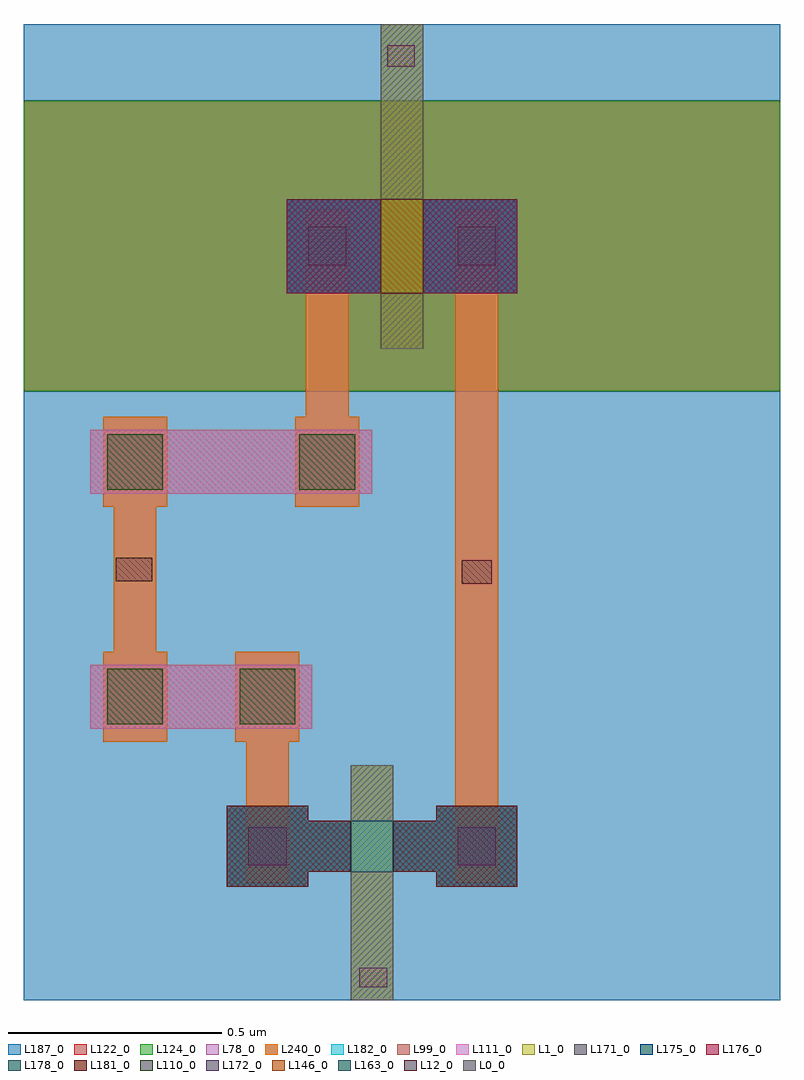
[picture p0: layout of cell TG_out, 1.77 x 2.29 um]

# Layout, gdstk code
import gdstk
lib = gdstk.Library(unit=1e-6, precision=1e-09)
def R(c, l, rs):  # rectangles x0, y0, x1, y1
    for r in rs: c.add(gdstk.rectangle(r[:2], r[2:], *l))
def P(c, l, *ps):  # polygons
    for p in ps: c.add(gdstk.Polygon(p, *l))
L0_0 = (0, 0)
L1_0 = (1, 0)
L12_0 = (12, 0)
L78_0 = (78, 0)
L99_0 = (99, 0)
L110_0 = (110, 0)
L111_0 = (111, 0)
L122_0 = (122, 0)
L124_0 = (124, 0)
L146_0 = (146, 0)
L163_0 = (163, 0)
L171_0 = (171, 0)
L172_0 = (172, 0)
L175_0 = (175, 0)
L176_0 = (176, 0)
L178_0 = (178, 0)
L181_0 = (181, 0)
L182_0 = (182, 0)
L187_0 = (187, 0)
L240_0 = (240, 0)

tg_out = lib.new_cell('TG_out')
R(tg_out, L0_0, [(1.515,0.435,1.58,0.48), (1.58,2.59,1.645,2.64)])
R(tg_out, L1_0, [(1.495,0.405,1.595,0.955), (1.565,1.93,1.665,2.69)])
R(tg_out, L12_0, [(1.755,1.38,1.825,1.435), (0.945,1.385,1.03,1.44)])
R(tg_out, L78_0, [(1.74,0.68,1.84,2.255)])
P(tg_out, L78_0, [(1.49,2.255),(1.49,1.77),(1.515,1.77),(1.515,1.56),(1.365,1.56),(1.365,1.77),(1.39,1.77),(1.39,2.255)],
  [(1.065,1.77),(1.065,1.56),(1.04,1.56),(1.04,1.22),(1.065,1.22),(1.065,1.01),(0.915,1.01),(0.915,1.22),(0.94,1.22),(0.94,1.56),(0.915,1.56),(0.915,1.77)],
  [(1.375,1.22),(1.375,1.01),(1.35,1.01),(1.35,0.68),(1.25,0.68),(1.25,1.01),(1.225,1.01),(1.225,1.22)])
R(tg_out, L99_0, [(0.885,1.04,1.405,1.19), (0.885,1.59,1.545,1.74)])
R(tg_out, L110_0, [(0.925,1.05,1.055,1.18), (1.235,1.05,1.365,1.18), (0.925,1.6,1.055,1.73), (1.375,1.6,1.505,1.73)])
R(tg_out, L111_0, [(0.885,1.04,1.405,1.19), (0.885,1.59,1.545,1.74)])
R(tg_out, L122_0, [(0.73,1.83,2.5,2.51)])
R(tg_out, L124_0, [(0.73,1.83,2.5,2.51)])
R(tg_out, L146_0, [(1.565,2.06,1.665,2.28)])
R(tg_out, L163_0, [(1.495,0.705,1.595,0.825)])
R(tg_out, L171_0, [(1.495,0.405,1.595,0.705), (1.495,0.825,1.595,0.955), (1.565,1.93,1.665,2.06), (1.565,2.28,1.665,2.69)])
R(tg_out, L172_0, [(1.255,0.72,1.345,0.81), (1.745,0.72,1.835,0.81), (1.395,2.125,1.485,2.215), (1.745,2.125,1.835,2.215)])
R(tg_out, L175_0, [(1.345,2.06,1.565,2.28), (1.665,2.06,1.885,2.28)])
R(tg_out, L176_0, [(1.345,2.06,1.565,2.28), (1.665,2.06,1.885,2.28)])
P(tg_out, L178_0, [(1.885,0.86),(1.885,0.67),(1.695,0.67),(1.695,0.705),(1.595,0.705),(1.595,0.825),(1.695,0.825),(1.695,0.86)],
  [(1.395,0.86),(1.395,0.825),(1.495,0.825),(1.495,0.705),(1.395,0.705),(1.395,0.67),(1.205,0.67),(1.205,0.86)])
P(tg_out, L181_0, [(1.885,0.86),(1.885,0.67),(1.695,0.67),(1.695,0.705),(1.595,0.705),(1.595,0.825),(1.695,0.825),(1.695,0.86)],
  [(1.395,0.86),(1.395,0.825),(1.495,0.825),(1.495,0.705),(1.395,0.705),(1.395,0.67),(1.205,0.67),(1.205,0.86)])
R(tg_out, L182_0, [(1.345,2.06,1.565,2.28), (1.665,2.06,1.885,2.28)])
P(tg_out, L182_0, [(1.885,0.86),(1.885,0.67),(1.695,0.67),(1.695,0.705),(1.595,0.705),(1.595,0.825),(1.695,0.825),(1.695,0.86)],
  [(1.395,0.86),(1.395,0.825),(1.495,0.825),(1.495,0.705),(1.395,0.705),(1.395,0.67),(1.205,0.67),(1.205,0.86)])
R(tg_out, L187_0, [(0.73,0.405,2.5,1.83), (0.73,2.51,2.5,2.69)])
R(tg_out, L240_0, [(1.74,0.68,1.84,2.255)])
P(tg_out, L240_0, [(1.49,2.255),(1.49,1.77),(1.515,1.77),(1.515,1.56),(1.365,1.56),(1.365,1.77),(1.39,1.77),(1.39,2.255)],
  [(1.065,1.77),(1.065,1.56),(1.04,1.56),(1.04,1.22),(1.065,1.22),(1.065,1.01),(0.915,1.01),(0.915,1.22),(0.94,1.22),(0.94,1.56),(0.915,1.56),(0.915,1.77)],
  [(1.375,1.22),(1.375,1.01),(1.35,1.01),(1.35,0.68),(1.25,0.68),(1.25,1.01),(1.225,1.01),(1.225,1.22)])

lib.write_gds('TG_out.gds')
